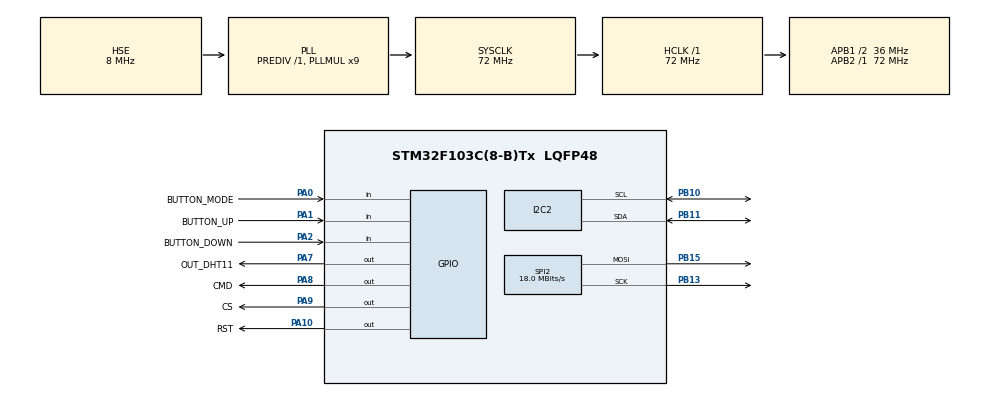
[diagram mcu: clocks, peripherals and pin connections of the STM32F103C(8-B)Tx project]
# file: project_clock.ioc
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Mcu.Family=STM32F1
Mcu.Name=STM32F103C(8-B)Tx
Mcu.Package=LQFP48
NVIC.PriorityGroup=NVIC_PRIORITYGROUP_4
PA0-WKUP.GPIO_Label=BUTTON_MODE
PA0-WKUP.Signal=GPIO_Input
PA1.GPIO_Label=BUTTON_UP
PA1.Signal=GPIO_Input
PA10.GPIO_Label=RST
PA10.Signal=GPIO_Output
PA13.Mode=Serial_Wire
PA13.Signal=SYS_JTMS-SWDIO
PA14.Mode=Serial_Wire
PA14.Signal=SYS_JTCK-SWCLK
PA2.GPIO_Label=BUTTON_DOWN
PA2.Signal=GPIO_Input
PA7.GPIO_Label=OUT_DHT11
PA7.Signal=GPIO_Output
PA8.GPIO_Label=CMD
PA8.Signal=GPIO_Output
PA9.GPIO_Label=CS
PA9.Signal=GPIO_Output
PB10.Mode=I2C
PB10.Signal=I2C2_SCL
PB11.Mode=I2C
PB11.Signal=I2C2_SDA
PB13.Mode=TX_Only_Simplex_Unidirect_Master
PB13.Signal=SPI2_SCK
PB15.Mode=TX_Only_Simplex_Unidirect_Master
PB15.Signal=SPI2_MOSI
PD0-OSC_IN.Mode=HSE-External-Oscillator
PD0-OSC_IN.Signal=RCC_OSC_IN
PD1-OSC_OUT.Mode=HSE-External-Oscillator
PD1-OSC_OUT.Signal=RCC_OSC_OUT
ProjectManager.HeapSize=0x200
ProjectManager.StackSize=0x400
ProjectManager.TargetToolchain=STM32CubeIDE
RCC.AHBFreq_Value=72000000
RCC.APB1CLKDivider=RCC_HCLK_DIV2
RCC.APB1Freq_Value=36000000
RCC.APB1TimFreq_Value=72000000
RCC.APB2Freq_Value=72000000
RCC.APB2TimFreq_Value=72000000
RCC.HCLKFreq_Value=72000000
RCC.PLLMUL=RCC_PLL_MUL9
RCC.PLLSourceVirtual=RCC_PLLSOURCE_HSE
RCC.SYSCLKFreq_VALUE=72000000
RCC.SYSCLKSource=RCC_SYSCLKSOURCE_PLLCLK
RCC.USBFreq_Value=72000000
SPI2.CalculateBaudRate=18.0 MBits/s
SPI2.Direction=SPI_DIRECTION_2LINES
SPI2.Mode=SPI_MODE_MASTER
SPI2.VirtualType=VM_MASTER
board=custom

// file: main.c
/* USER CODE BEGIN Header */
/**
  ******************************************************************************
  * @file           : main.c
  * @brief          : Main program body
  ******************************************************************************
  * @attention
  *
  * Copyright (c) 2023 STMicroelectronics.
  * All rights reserved.
  *
  * This software is licensed under terms that can be found in the LICENSE file
  * in the root directory of this software component.
  * If no LICENSE file comes with this software, it is provided AS-IS.
  *
  ******************************************************************************
  */
/* USER CODE END Header */
#include "main.h"

/* USER CODE BEGIN Includes */
#include "ILI9225.h"
#include "stdio.h"
#include "stdint.h"
#include <string.h>
#include "RTC.h"
#include "button.h"
#include "DHT.h"
/* USER CODE END Includes */

I2C_HandleTypeDef hi2c2;

SPI_HandleTypeDef hspi2;

/* USER CODE BEGIN PV */
uint8_t second_present, min_present, hour_present, date_present, month_present, year_present;
uint8_t second_temp, min_temp, hour_temp, date_temp, month_temp, year_temp;
uint8_t date_max;
char temperature_string[20];
char humidity_string[20];
float Temperature;
float Humidity;
char str1[20];
char str2[20];

DHT_DataTypedef DHT11_Data;
//Button_TypeDef;

/* USER CODE END PV */

void SystemClock_Config(void);
static void MX_GPIO_Init(void);
static void MX_SPI2_Init(void);
static void MX_I2C2_Init(void);

/* USER CODE BEGIN 0 */
DateTime_t datetime;
void btn_adjust_up(void);
void btn_adjust_down(void);
void Read_DataDHT(void)
{
	DHT_GetData(&DHT11_Data);
	Temperature = DHT11_Data.Temperature;
	Humidity = DHT11_Data.Humidity;
}
Button_TypeDef buttonmode;
Button_TypeDef buttonup;
Button_TypeDef buttondown;
Button_TypeDef *ButtonX;

typedef enum
{
	BINHTHUONG = 0,
	CHINHPHUT = 1,
	CHINHGIO = 2,
	CHINHNGAY = 3,
}Mode;

Mode mode; // khai báo là biến "mode" có kiểu dữ liệu "Mode"

//////////////////////////////////////////////////////////////CHƯƠNG TRÌNH PHỤC VỤ NGẮT//////////////////////////////////////////////////////////////
void btn_pressing_callback()
{
	if (ButtonX->GPIO_Pin == GPIO_PIN_0)
	{
		switch (mode)
		{
		case BINHTHUONG: // mode = 0
	  datetime.date = date_temp; //gán th�?i gian vừa cài đặt xong cho biến official (biến mà RTC sẽ tự động cập nhật)
			mode = CHINHPHUT;  // gán mode 0 thành 1
			break; // đang ở case BINHTHUONG thì chương trình sẽ gán cho biến mode (dòng 84), sau đó break ra kh�?i switch, rồi khi này chương trình sẽ không thực hiện lệnh gì trong khi đợi đi�?u kiện của 1 trong 3 cái if ở ngắt là đúng;
		// Vậy lúc này, nếu bấm button_mode một lần nữa thì chương trình sẽ xét switch rồi nhảy vô case CHINHGIO vì biến "mode" đã được gán = 2 ở dòng 88; Else nhấn button_up một lần thì chương trình
		// sẽ nhảy vào chạy hàm btn_adjust(up) hoặc nếu nhấn button_down thì chương trình sẽ nhảy vào chạy hàm btn_adjust(down).
		case CHINHPHUT: // mode = 1
			mode = CHINHGIO; // gán mode = 2
			break;
		case CHINHGIO: // mode = 2
	  datetime.min = min_temp; //gán th�?i gian vừa cài đặt xong cho biến official (biến mà RTC sẽ tự động cập nhật)
			mode = CHINHNGAY; // gán mode = 3
			break;
		case CHINHNGAY:      // mode = 3
	  datetime.hour = hour_temp; //gán th�?i gian vừa cài đặt xong cho biến official (biến mà RTC sẽ tự động cập nhật)
			mode = BINHTHUONG; // gán mode = 0
			break;
		}
	}
  ////////////////BUTTON_UP///////////////
	if (ButtonX->GPIO_Pin == GPIO_PIN_1)
	{
		btn_adjust_up();
//		void btn_adjust(up)
//			{
//			switch(mode)
//				{
//				case CHINHPHUT:
//					// viet code de cong 1 phut va khi den 60 thi quay lai
//		            min_temp = datetime.min; // gán giá trị của "biến official" (RTC đang dùng để cập nhật) cho biến temporary.
//		        while(1){
//		            fill_rectangle(110, 200, 230, 210, COLOR_WHITE); // blink tại thông số "minute"
//		            if (ButtonX->GPIO_Pin == GPIO_PIN_1)
//		            {
//		            min_temp ++;
//		            if (min_temp == 60)
//		            {
//		                min_temp = 0;
//		            }
//				    draw_string(40, 200, COLOR_BLACK, 2, str1);
//		            }
//		        }
//					 break;
//				case CHINHGIO:
//					// viet code de cong 1 gio va khi den 60 thi quay lai
//		            hour_temp = datetime.hour; // gán giá trị của "biến official" (RTC đang dùng để cập nhật) cho biến temporary.
//		        while(1){
//		            fill_rectangle(110, 200, 230, 210, COLOR_WHITE); // blink tại thông số "hour"
//		            if (ButtonX->GPIO_Pin == GPIO_PIN_1)
//		            {
//		            hour_temp ++;
//		            if (hour_temp == 24)
//		            {
//		                hour_temp = 0;
//		            }
//				    draw_string(40, 200, COLOR_BLACK, 2, str1);
//		            }
//		        }
//					 break;
//				case CHINHNGAY:
//					// viet code de cong 1 ngay va biet duoc so ngay trong thang de quay lai
//		            date_temp = datetime.date; // gán giá trị của "biến official" (RTC đang dùng để cập nhật) cho biến temporary.
//		        while(1){
//		            fill_rectangle(85, 215, 205, 235, COLOR_WHITE); // Blink tại thông số "date"
//		            if (ButtonX->GPIO_Pin == GPIO_PIN_1)
//		            {
//		            date_temp ++;
//		            switch (datetime.month)   // xét xem tháng hiện tại có tổng bao nhiêu ngày
//		            {
//		            case 1: case 3: case 5:case 7: case 8: case 10: case 12:
//		                date_max = 31 + 1;
//		                break;
//		            case 4: case 6: case 9: case 11:
//		                date_max = 30 + 1;
//		            case 2:
//		                if ((datetime.year - 2014) % 4 == 0)
//		            {
//		                date_max = 29 + 1;
//		            }
//		            else
//		            {
//		                date_max = 28 + 1;
//		            }
//		                break;
//		            default:
//		                break;
//		            }
//		            if (date_temp == date_max)
//		            {
//		                date_temp = 1;
//		            }
//				    draw_string(40, 220, COLOR_BLACK, 2, str2); // in cả string 2 (nhưng chỉ có thông số date thay đổi).
//		            }
//		        }
//					 break;
//				}
	}

  ///////////////BUTTON_DOWN////////////
	if (ButtonX->GPIO_Pin == GPIO_PIN_2)
	{
	  btn_adjust_down();
//		void btn_adjust(down)
//			{
//		    	switch(mode)
//				{
//				case CHINHPHUT:
//					// viet code de tru 1 phut va khi den 0 thi quay lai
//		            min_temp = datetime.min; // gán giá trị của "biến official" (RTC đang dùng để cập nhật) cho biến temporary.
//		        while(1){
//		            fill_rectangle(110, 200, 230, 210, COLOR_WHITE); // blink tại thông số "minute"
//		            if (ButtonX->GPIO_Pin == GPIO_PIN_1)
//		            {
//		            min_temp --;
//		            if (min_temp == -1)
//		            {
//		                min_temp = 59;
//		            }
//				    draw_string(40, 200, COLOR_BLACK, 2, str1);
//		            }
//		        }
//					 break;
//				case CHINHGIO:
//					// viet code de tru 1 gio va khi den 0 thi quay lai
//		            hour_temp = datetime.hour; // gán giá trị của "biến official" (RTC đang dùng để cập nhật) cho biến temporary.
//		        while(1){
//		            fill_rectangle(110, 200, 230, 210, COLOR_WHITE); // blink tại thông số "hour"
//		            if (ButtonX->GPIO_Pin == GPIO_PIN_1)
//		            {
//		            hour_temp --;
//		            if (hour_temp == -1)
//		            {
//		                hour_temp = 23;
//		            }
//				    draw_string(40, 200, COLOR_BLACK, 2, str1);
//		            }
//		        }
//					 break;
//				case CHINHNGAY:
//					// viet code de tru 1 ngay va biet duoc so ngay trong thang de quay lai
//		            date_temp = datetime.date; // gán giá trị của "biến official" (RTC đang dùng để cập nhật) cho biến temporary.
//		        while(1){
//		            fill_rectangle(85, 215, 205, 235, COLOR_WHITE); // Blink tại thông số "date"
//		            if (ButtonX->GPIO_Pin == GPIO_PIN_1)
//		            {
//		            date_temp --;
//		            switch (datetime.month)   // xét xem tháng hiện tại có tổng bao nhiêu ngày
//		            {
//		            case 1: case 3: case 5:case 7: case 8: case 10: case 12:
//		                date_max = 31 + 1;
//		                break;
//		            case 4: case 6: case 9: case 11:
//		                date_max = 30 + 1;
//		            case 2:
//		                if ((datetime.year - 2014) % 4 == 0) // nếu năm hiện tại là năm nhuận thì số tổng số ngày của tháng 2 ở năm hiện tại là 29, còn không thì là 28.
//		            {
//		                date_max = 29 + 1;
//		            }
//		            else
//		            {
//		                date_max = 28 + 1;
//		            }
//		                break;
//		            default:
//		                break;
//		            }
//		            if (date_temp == 0)
//		            {
//		                date_temp = date_max - 1;
//		            }
//				    draw_string(40, 220, COLOR_BLACK, 2, str2); // in cả string 2 (nhưng chỉ có thông số date thay đổi).
//		            }
//		        }
//					 break;
//				}
//			}
//
//		}
	}
}

//                    Tạo hàm sẽ chạy khi nhấn button_up
void btn_adjust_up (void)
{
	switch(mode)
	{
		case CHINHPHUT:
			// viet code de cong 1 phut va khi den 60 thi quay lai
			min_temp = datetime.min; // gán giá trị của "biến official" (RTC đang dùng để cập nhật) cho biến temporary.
			while(1){
				fill_rectangle(110, 200, 230, 210, COLOR_WHITE); // blink tại thông số "minute"
				if (ButtonX->GPIO_Pin == GPIO_PIN_1)
				{
				min_temp ++;
				if (min_temp == 60)
				{
					min_temp = 0;
				}
				draw_string(40, 200, COLOR_BLACK, 2, str1);
				}
			}
			break;
		case CHINHGIO:
			// viet code de cong 1 gio va khi den 60 thi quay lai
			hour_temp = datetime.hour; // gán giá trị của "biến official" (RTC đang dùng để cập nhật) cho biến temporary.
			while(1){
				fill_rectangle(110, 200, 230, 210, COLOR_WHITE); // blink tại thông số "hour"
				if (ButtonX->GPIO_Pin == GPIO_PIN_1)
				{
				hour_temp ++;
				if (hour_temp == 24)
				{
					hour_temp = 0;
				}
				draw_string(40, 200, COLOR_BLACK, 2, str1);
				}
			}
			 break;
		case CHINHNGAY:
			// viet code de cong 1 ngay va biet duoc so ngay trong thang de quay lai
			date_temp = datetime.date; // gán giá trị của "biến official" (RTC đang dùng để cập nhật) cho biến temporary.
			while(1)
			{
				fill_rectangle(85, 215, 205, 235, COLOR_WHITE); // Blink tại thông số "date"
				if (ButtonX->GPIO_Pin == GPIO_PIN_1)
				{
					date_temp ++;
					switch (datetime.month)   // xét xem tháng hiện tại có tổng bao nhiêu ngày
					{
						case 1:
						case 3:
						case 5:
						case 7:
						case 8:
						case 10:
						case 12:
							date_max = 31 + 1;
							break;
						case 4:
						case 6:
						case 9:
						case 11:
							date_max = 30 + 1;
						case 2:
							if ((datetime.year - 2014) % 4 == 0)
							{
								date_max = 29 + 1;
							}
							else
							{
								date_max = 28 + 1;
							}
							break;
						default:
							break;
					}
					if (date_temp == date_max)
					{
						date_temp = 1;
					}
					draw_string(40, 220, COLOR_BLACK, 2, str2); // in cả string 2 (nhưng chỉ có thông số date thay đổi).
				}
			}
			break;
	}
}
//                       Tạo hàm sẽ chạy khi nhấn button_down
void btn_adjust_down(void)
{
	switch(mode)
	{
		case BINHTHUONG:
			break;
		case CHINHPHUT:
			// viet code de tru 1 phut va khi den 0 thi quay lai
			min_temp = datetime.min; // gán giá trị của "biến official" (RTC đang dùng để cập nhật) cho biến temporary.
			while(1){
				fill_rectangle(110, 200, 230, 210, COLOR_WHITE); // blink tại thông số "minute"
				if (ButtonX->GPIO_Pin == GPIO_PIN_1)
				{
					min_temp --;
					if (min_temp == -1)
					{
						min_temp = 59;
					}
					draw_string(40, 200, COLOR_BLACK, 2, str1);
				}
			}
			break;
		case CHINHGIO:
			// viet code de tru 1 gio va khi den 0 thi quay lai
			hour_temp = datetime.hour; // gán giá trị của "biến official" (RTC đang dùng để cập nhật) cho biến temporary.
			while(1){
				fill_rectangle(110, 200, 230, 210, COLOR_WHITE); // blink tại thông số "hour"
				if (ButtonX->GPIO_Pin == GPIO_PIN_1)
				{
					hour_temp --;
					if (hour_temp == -1)
					{
						hour_temp = 23;
					}
					draw_string(40, 200, COLOR_BLACK, 2, str1);
				}
			}
			break;
		case CHINHNGAY:
			// viet code de tru 1 ngay va biet duoc so ngay trong thang de quay lai
			date_temp = datetime.date; // gán giá trị của "biến official" (RTC đang dùng để cập nhật) cho biến temporary.
			while(1)
			{
				fill_rectangle(85, 215, 205, 235, COLOR_WHITE); // Blink tại thông số "date"
				if (ButtonX->GPIO_Pin == GPIO_PIN_1)
				{
					date_temp --;
					switch (datetime.month)   // xét xem tháng hiện tại có tổng bao nhiêu ngày
					{
						case 1:
						case 3:
						case 5:
						case 7:
						case 8:
						case 10:
						case 12:
							date_max = 31 + 1;
							break;
						case 4:
						case 6:
						case 9:
						case 11:
							date_max = 30 + 1;
						case 2:
							if ((datetime.year - 2014) % 4 == 0) // nếu năm hiện tại là năm nhuận thì số tổng số ngày của tháng 2 ở năm hiện tại là 29, còn không thì là 28.
							{
								date_max = 29 + 1;
							}
							else
							{
								date_max = 28 + 1;
							}
							break;
						default:
							break;
					}
					if (date_temp == 0)
					{
						date_temp = date_max - 1;
					}
					draw_string(40, 220, COLOR_BLACK, 2, str2); // in cả string 2 (nhưng chỉ có thông số date thay đổi).
				}
			}
			break;
	}
}

/* USER CODE END 0 */

int main(void)
{

  /* MCU Configuration--------------------------------------------------------*/

  /* Reset of all peripherals, Initializes the Flash interface and the Systick. */
  HAL_Init();

  /* Configure the system clock */
  SystemClock_Config();

  /* Initialize all configured peripherals */
  MX_GPIO_Init();
  MX_SPI2_Init();
  MX_I2C2_Init();
  DHT_Start();
  /* USER CODE BEGIN 2 */
	int mode = 0; // Cho chương trình chạy ở MODE 0 trước tiên khi mới bắt đầu.
	button_init(&buttonmode, GPIOA, GPIO_PIN_0);
	button_init(&buttonup, GPIOA, GPIO_PIN_1);
	button_init(&buttondown, GPIOA, GPIO_PIN_2);
	lcd_init();
	fill_rectangle(0, 0, WIDTH, HEIGHT, COLOR_WHITE);
	draw_string(0, 50, COLOR_GREENYELLOW, 5, "HELLO");
	HAL_Delay(2500);
	fill_rectangle(0, 0, WIDTH, HEIGHT, COLOR_WHITE);

    // Cài đặt th�?i gian ban đầu
	datetime.second = 15;
	datetime.min = 44;
	datetime.hour = 12;
	datetime.day = 8;
	datetime.date = 58;
	datetime.month = 12;
	datetime.year = 23;
	RTC_WriteTime(&datetime);

	draw_string(20, 50, COLOR_GOLD, 5, "QMDP");
	HAL_Delay(2500);
//  fill_rectangle(0, 0, 276, 220, COLOR_WHITE);
	fill_rectangle(0, 0, WIDTH, HEIGHT, COLOR_WHITE);

  /* USER CODE END 2 */

  /* Infinite loop */
  while (1)
  {

    /* USER CODE BEGIN 3 */
	button_handle(&buttonmode);
	button_handle(&buttonup);
	button_handle(&buttondown);

	 RTC_ReadTime(&datetime);
	  second_temp = datetime.second;
	  min_temp = datetime.min;
	  hour_temp = datetime.hour;
	  date_temp = datetime.date;
	  month_temp = datetime.month;
	  year_temp = datetime.year;
	  sprintf(str1, "Time %.2d:%.2d:%.2d", datetime.hour, datetime.min, datetime.second);

	  if(second_temp != second_present)
	  {
		  fill_rectangle(140, 100, 160, 110, COLOR_WHITE);
		  second_present = second_temp;
	  }
	  draw_string(40, 100, COLOR_BLACK, 1, str1);

	  if(min_temp != min_present)
	  	  {
	  		  fill_rectangle(110, 100, 130, 110, COLOR_WHITE);
	  		  min_present = min_temp;
	  	  }
	  draw_string(40, 100, COLOR_BLACK, 1, str1);

	  if(hour_temp != hour_present)
	 	  	  {
	 	  		  fill_rectangle(85, 100, 105, 110, COLOR_WHITE);
	 	  		  hour_present = hour_temp;
	 	  	  }
	  draw_string(40, 100, COLOR_BLACK, 1, str1);

	  sprintf(str2,"Date %.2d/%.2d/%.2d",datetime.date,datetime.month,datetime.year );
// để sprintf ở đây cho nó chính xác, date, month, year lâu lắm
	  //để sprintf ở đây để convert, lệnh in lên LCD nằm trong thư viện của LCD
	  if(date_temp != date_present)
	  	 	  	  {
	  	 	  		  fill_rectangle(85, 115, 105, 135, COLOR_WHITE);
	  	 	  		  date_present = date_temp;
	  	 	  	  }
	  	  draw_string(40, 120, COLOR_BLACK, 1, str2);

	  	if(month_temp != month_present)
	  		 	  	  {
	  		 	  		  fill_rectangle(110, 115, 130, 135, COLOR_WHITE);
	  		 	  		  month_present = month_temp;
	  		 	  	  }
	  		  draw_string(40, 120, COLOR_BLACK, 1, str2);

	  		if(year_temp != year_present)
	  			 	  	  {
	  			 	  		  fill_rectangle(135, 115, 160, 135, COLOR_WHITE);
	  			 	  		  year_present = year_temp;
	  			 	  	  }
	  			  draw_string(40, 120, COLOR_BLACK, 1, str2);
//

//		  			          Read_DataDHT();
//		  				      snprintf(temperature_string, 7, "%.2f", Temperature);
//		  				      snprintf(humidity_string, 7, "%.2f", Humidity);
//		  				      fill_rectangle(0, 0, 220, 176, COLOR_WHITE);
//		  				      draw_string(20, 20, COLOR_BLUE, 4, temperature_string);
//		  					  draw_string(20, 90, COLOR_BLUE, 4, humidity_string);
//		  					  HAL_Delay(2000);
////
     snprintf(temperature_string, 7, "%.2f", Temperature);
     snprintf(humidity_string, 7, "%.2f", Humidity);
     fill_rectangle(150, 20, 220, 50, COLOR_WHITE);
//          Read_DataDHT();
//	      draw_string(20, 20, COLOR_GOLD, 1, "TEMP");
//	      draw_string(20, 40, COLOR_GOLD, 1, "HUM");
////
     draw_string(150, 20, COLOR_BLUE, 1, temperature_string);
	  draw_string(150, 40, COLOR_BLUE, 1, humidity_string);
////////	  	  DHT_GetData(&dht11);
 	  Read_DataDHT();
  /* USER CODE END 3 */
  }
}
void SystemClock_Config(void)
{
  RCC_OscInitTypeDef RCC_OscInitStruct = {0};
  RCC_ClkInitTypeDef RCC_ClkInitStruct = {0};

  /** Initializes the RCC Oscillators according to the specified parameters
  * in the RCC_OscInitTypeDef structure.
  */
  RCC_OscInitStruct.OscillatorType = RCC_OSCILLATORTYPE_HSE;
  RCC_OscInitStruct.HSEState = RCC_HSE_ON;
  RCC_OscInitStruct.HSEPredivValue = RCC_HSE_PREDIV_DIV1;
  RCC_OscInitStruct.HSIState = RCC_HSI_ON;
  RCC_OscInitStruct.PLL.PLLState = RCC_PLL_ON;
  RCC_OscInitStruct.PLL.PLLSource = RCC_PLLSOURCE_HSE;
  RCC_OscInitStruct.PLL.PLLMUL = RCC_PLL_MUL9;
  if (HAL_RCC_OscConfig(&RCC_OscInitStruct) != HAL_OK)
  {
    Error_Handler();
  }

  /** Initializes the CPU, AHB and APB buses clocks
  */
  RCC_ClkInitStruct.ClockType = RCC_CLOCKTYPE_HCLK|RCC_CLOCKTYPE_SYSCLK
                              |RCC_CLOCKTYPE_PCLK1|RCC_CLOCKTYPE_PCLK2;
  RCC_ClkInitStruct.SYSCLKSource = RCC_SYSCLKSOURCE_PLLCLK;
  RCC_ClkInitStruct.AHBCLKDivider = RCC_SYSCLK_DIV1;
  RCC_ClkInitStruct.APB1CLKDivider = RCC_HCLK_DIV2;
  RCC_ClkInitStruct.APB2CLKDivider = RCC_HCLK_DIV1;

  if (HAL_RCC_ClockConfig(&RCC_ClkInitStruct, FLASH_LATENCY_2) != HAL_OK)
  {
    Error_Handler();
  }
}

static void MX_I2C2_Init(void)
{

  hi2c2.Instance = I2C2;
  hi2c2.Init.ClockSpeed = 100000;
  hi2c2.Init.DutyCycle = I2C_DUTYCYCLE_2;
  hi2c2.Init.OwnAddress1 = 0;
  hi2c2.Init.AddressingMode = I2C_ADDRESSINGMODE_7BIT;
  hi2c2.Init.DualAddressMode = I2C_DUALADDRESS_DISABLE;
  hi2c2.Init.OwnAddress2 = 0;
  hi2c2.Init.GeneralCallMode = I2C_GENERALCALL_DISABLE;
  hi2c2.Init.NoStretchMode = I2C_NOSTRETCH_DISABLE;
  if (HAL_I2C_Init(&hi2c2) != HAL_OK)
  {
    Error_Handler();
  }

}

static void MX_SPI2_Init(void)
{

  /* SPI2 parameter configuration*/
  hspi2.Instance = SPI2;
  hspi2.Init.Mode = SPI_MODE_MASTER;
  hspi2.Init.Direction = SPI_DIRECTION_2LINES;
  hspi2.Init.DataSize = SPI_DATASIZE_8BIT;
  hspi2.Init.CLKPolarity = SPI_POLARITY_LOW;
  hspi2.Init.CLKPhase = SPI_PHASE_1EDGE;
  hspi2.Init.NSS = SPI_NSS_SOFT;
  hspi2.Init.BaudRatePrescaler = SPI_BAUDRATEPRESCALER_2;
  hspi2.Init.FirstBit = SPI_FIRSTBIT_MSB;
  hspi2.Init.TIMode = SPI_TIMODE_DISABLE;
  hspi2.Init.CRCCalculation = SPI_CRCCALCULATION_DISABLE;
  hspi2.Init.CRCPolynomial = 10;
  if (HAL_SPI_Init(&hspi2) != HAL_OK)
  {
    Error_Handler();
  }

}

static void MX_GPIO_Init(void)
{
  GPIO_InitTypeDef GPIO_InitStruct = {0};

  /* GPIO Ports Clock Enable */
  __HAL_RCC_GPIOD_CLK_ENABLE();
  __HAL_RCC_GPIOA_CLK_ENABLE();
  __HAL_RCC_GPIOB_CLK_ENABLE();

  /*Configure GPIO pin Output Level */
  HAL_GPIO_WritePin(GPIOA, OUT_DHT11_Pin|CMD_Pin|CS_Pin|RST_Pin, GPIO_PIN_RESET);

  /*Configure GPIO pins : BUTTON_MODE_Pin BUTTON_UP_Pin BUTTON_DOWN_Pin */
  GPIO_InitStruct.Pin = BUTTON_MODE_Pin|BUTTON_UP_Pin|BUTTON_DOWN_Pin;
  GPIO_InitStruct.Mode = GPIO_MODE_INPUT;
  GPIO_InitStruct.Pull = GPIO_NOPULL;
  HAL_GPIO_Init(GPIOA, &GPIO_InitStruct);

  /*Configure GPIO pins : OUT_DHT11_Pin CMD_Pin CS_Pin RST_Pin */
  GPIO_InitStruct.Pin = OUT_DHT11_Pin|CMD_Pin|CS_Pin|RST_Pin;
  GPIO_InitStruct.Mode = GPIO_MODE_OUTPUT_PP;
  GPIO_InitStruct.Pull = GPIO_NOPULL;
  GPIO_InitStruct.Speed = GPIO_SPEED_FREQ_LOW;
  HAL_GPIO_Init(GPIOA, &GPIO_InitStruct);

}

void Error_Handler(void)
{
  __disable_irq();
  while (1)
  {
  }
}
